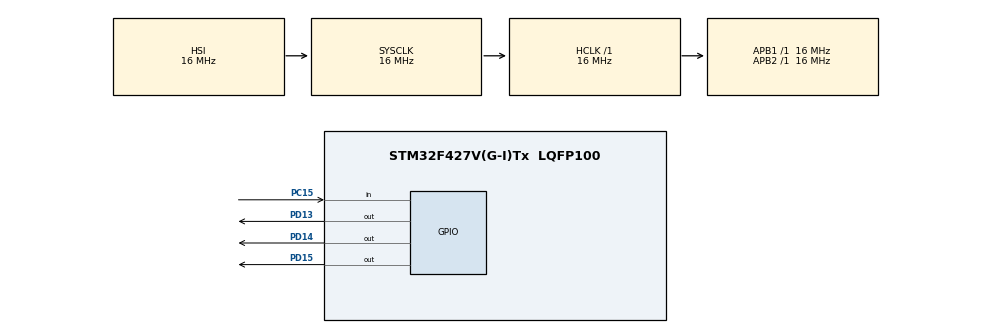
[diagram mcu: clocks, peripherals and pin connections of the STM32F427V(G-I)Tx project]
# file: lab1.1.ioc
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Mcu.Family=STM32F4
Mcu.Name=STM32F427V(G-I)Tx
Mcu.Package=LQFP100
NVIC.PriorityGroup=NVIC_PRIORITYGROUP_4
PA13.Mode=JTAG_5_pins
PA13.Signal=SYS_JTMS-SWDIO
PA14.Mode=JTAG_5_pins
PA14.Signal=SYS_JTCK-SWCLK
PA15.Mode=JTAG_5_pins
PA15.Signal=SYS_JTDI
PB3.Mode=JTAG_5_pins
PB3.Signal=SYS_JTDO-SWO
PB4.Mode=JTAG_5_pins
PB4.Signal=SYS_JTRST
PC15/OSC32_OUT.Signal=GPIO_Input
PD13.Signal=GPIO_Output
PD14.Signal=GPIO_Output
PD15.Signal=GPIO_Output
ProjectManager.HeapSize=0x200
ProjectManager.StackSize=0x400
ProjectManager.TargetToolchain=STM32CubeIDE
RCC.AHBFreq_Value=16000000
RCC.APB1Freq_Value=16000000
RCC.APB2Freq_Value=16000000
RCC.CortexFreq_Value=16000000
RCC.HSE_VALUE=25000000
RCC.HSI_VALUE=16000000
RCC.LSE_VALUE=32768
RCC.SYSCLKFreq_VALUE=16000000
RCC.VCOOutputFreq_Value=192000000
board=custom

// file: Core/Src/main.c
/* USER CODE BEGIN Header */
/**
  ******************************************************************************
  * @file           : main.c
  * @brief          : Main program body
  ******************************************************************************
  * @attention
  *
  * Copyright (c) 2023 STMicroelectronics.
  * All rights reserved.
  *
  * This software is licensed under terms that can be found in the LICENSE file
  * in the root directory of this software component.
  * If no LICENSE file comes with this software, it is provided AS-IS.
  *
  ******************************************************************************
  */
/* USER CODE END Header */
#include "main.h"
#include "gpio.h"

void SystemClock_Config(void);

/* USER CODE BEGIN 0 */

uint16_t RED = GPIO_PIN_15;
uint16_t YELLOW = GPIO_PIN_14;
uint16_t GREEN = GPIO_PIN_13;
#define COMMON_DELAY 50

void wait(uint32_t duration)
{
	uint32_t startTime = HAL_GetTick();
	while((HAL_GetTick() - startTime) < duration){}
}

void turn_all_off()
{
	HAL_GPIO_WritePin(GPIOD, GPIO_PIN_13, GPIO_PIN_RESET);
	HAL_GPIO_WritePin(GPIOD, GPIO_PIN_14, GPIO_PIN_RESET);
	HAL_GPIO_WritePin(GPIOD, GPIO_PIN_15, GPIO_PIN_RESET);
}

void turn_light_on(uint16_t light)
{
	turn_all_off();
	HAL_GPIO_WritePin(GPIOD, light, GPIO_PIN_SET);
}

void wait_and_change(uint32_t *duration, uint32_t *redDuration, uint8_t *flag){
	uint32_t startTime = 0;

	startTime = HAL_GetTick();
	while((HAL_GetTick() - startTime) < *duration)
	{
		GPIO_PinState measure_1 = HAL_GPIO_ReadPin(GPIOC, GPIO_PIN_15);
		wait(COMMON_DELAY);
		GPIO_PinState measure_2 = HAL_GPIO_ReadPin(GPIOC, GPIO_PIN_15);

		if((!measure_1 && !measure_2) && *flag == 0) {
			*redDuration = *redDuration / 4;
			*flag = 1;
		}
	}
}

/* USER CODE END 0 */

int main(void)
{

  /* MCU Configuration--------------------------------------------------------*/

  /* Reset of all peripherals, Initializes the Flash interface and the Systick. */
  HAL_Init();

  /* Configure the system clock */
  SystemClock_Config();

  /* Initialize all configured peripherals */
  MX_GPIO_Init();
  /* USER CODE BEGIN 2 */

  //uint32_t startTime = 0;
  uint32_t duration = 1000;
  uint32_t blink_duration = 500;
  uint32_t duration_red = 4 * duration;
  uint32_t duration_yellow = 1000;
  uint8_t button_flag = 0;
  uint8_t blink_count = 3;
  turn_all_off();

  /* USER CODE END 2 */

  /* Infinite loop */
  while (1)
  {

    /* USER CODE BEGIN 3 */
	  turn_light_on(RED);
	  wait_and_change(&duration_red, &duration_red, &button_flag);
	  turn_light_on(GREEN);
	  wait(duration);
	  duration_red = 4 * duration;
	  button_flag = 0;
	  for(uint32_t i = 0; i < blink_count; i++){
		turn_all_off();
		wait_and_change(&blink_duration, &duration_red, &button_flag);
		turn_light_on(GREEN);
		wait_and_change(&blink_duration, &duration_red, &button_flag);
	  }
	  turn_light_on(YELLOW);
	  wait_and_change(&duration_yellow, &duration_red, &button_flag);

  }
  /* USER CODE END 3 */
}

void SystemClock_Config(void)
{
  RCC_OscInitTypeDef RCC_OscInitStruct = {0};
  RCC_ClkInitTypeDef RCC_ClkInitStruct = {0};

  /** Configure the main internal regulator output voltage
  */
  __HAL_RCC_PWR_CLK_ENABLE();
  __HAL_PWR_VOLTAGESCALING_CONFIG(PWR_REGULATOR_VOLTAGE_SCALE3);

  /** Initializes the RCC Oscillators according to the specified parameters
  * in the RCC_OscInitTypeDef structure.
  */
  RCC_OscInitStruct.OscillatorType = RCC_OSCILLATORTYPE_HSI;
  RCC_OscInitStruct.HSIState = RCC_HSI_ON;
  RCC_OscInitStruct.HSICalibrationValue = RCC_HSICALIBRATION_DEFAULT;
  RCC_OscInitStruct.PLL.PLLState = RCC_PLL_NONE;
  if (HAL_RCC_OscConfig(&RCC_OscInitStruct) != HAL_OK)
  {
    Error_Handler();
  }

  /** Initializes the CPU, AHB and APB buses clocks
  */
  RCC_ClkInitStruct.ClockType = RCC_CLOCKTYPE_HCLK|RCC_CLOCKTYPE_SYSCLK
                              |RCC_CLOCKTYPE_PCLK1|RCC_CLOCKTYPE_PCLK2;
  RCC_ClkInitStruct.SYSCLKSource = RCC_SYSCLKSOURCE_HSI;
  RCC_ClkInitStruct.AHBCLKDivider = RCC_SYSCLK_DIV1;
  RCC_ClkInitStruct.APB1CLKDivider = RCC_HCLK_DIV1;
  RCC_ClkInitStruct.APB2CLKDivider = RCC_HCLK_DIV1;

  if (HAL_RCC_ClockConfig(&RCC_ClkInitStruct, FLASH_LATENCY_0) != HAL_OK)
  {
    Error_Handler();
  }
}

void Error_Handler(void)
{
  __disable_irq();
  while (1)
  {
  }
}
